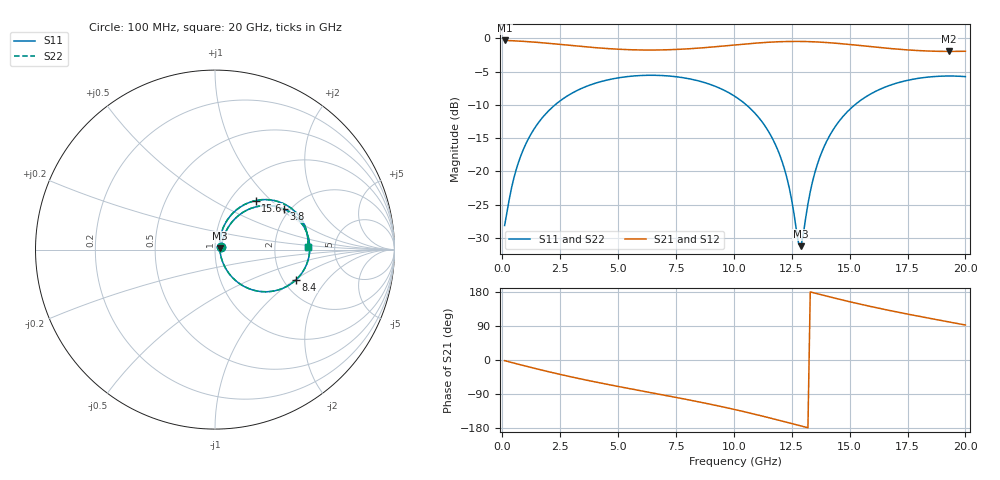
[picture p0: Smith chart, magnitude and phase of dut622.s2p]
! Touchstone file exported from HFSS 2026.1.0
!  File:  C:/ffzhzh/LocalFiles/Ansys_Project_Files/temp_train_TSV_RDL_622_1783124985_53076.aedt
!  Generated:  08:40:42 AM Jul  4, 2026
!  Design:  TSV_RDL
!  Project:  temp_train_TSV_RDL_622_1783124985_53076
! Variables:
!  h_bsmrdl = 2.85um
!  h_ox = 20um
!  h_rdl = 5um
!  h_sub = 89.11um
!  h_tmrdl = 2.04um
!  h_tsv = 89.11um
!  h_via = 3um
!  l_bsmrdl = 526.54um
!  l_sub = 4375.8um
!  l_tmrdl = 570.38um
!  m_sub = 200um
!  pitch = 41.33um
!  r_tsv = 5.67um
!  s_tmrdl = 10um
!  w_bsmrdl = 22.36um
!  w_sub = 500um
!  w_tmrdl = 15.86um
!  x_tsv_center1 = 578.31um
!  x_tsv_center2 = 1127.21um
!  x_tsv_center3 = 1713.45um
!  x_tsv_center4 = 2262.35um
!  x_tsv_center5 = 2848.59um
!  x_tsv_center6 = 3397.49um
# GHz S MA R 50.000000
! Terminal data exported
! Port[1] = TM_RDL1_1_T1
! Port[2] = TM_RDL5_1_T1
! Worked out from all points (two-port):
!   200 points, 100 MHz to 20 GHz, reference 50 ohm
!   highest |S21| = -0.31 dB at 100 MHz (marker M1); lowest = -2.0 dB at 19.3 GHz (marker M2)
!   |S21| within 3 dB of the highest: start of sweep to end of sweep
!   lowest |S11| = -31.2 dB at 12.9 GHz (marker M3), VSWR 1.06, Z = 52.7 + j0.768 ohm
!   |S11| at or under -10 dB: start of sweep to 2.279 GHz; 10.54 GHz to 15.22 GHz (4.686 GHz wide, 36.4 % of centre)
!   |S22| runs from -31.3 to -5.5 dB; largest |S21 - S12| = 1.7e-14
!   S11 on the Smith chart (normalised r, x): 100 MHz: 1.07, +0.03; 3.8 GHz: 1.87, +1.05; 8.4 GHz: 2.34, -1.02; 15.6 GHz: 1.30, +0.81; 20 GHz: 3.12, +0.12
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0.1  0.03917 23.6  0.9644 -1.7  0.9644 -1.7  0.03917 23.6
! Gamma 0 0 0 0
! Port Impedance 50 0 50 0
0.6  0.1031 57.9  0.9564 -9.8  0.9564 -9.8  0.1031 57.9
1.2  0.1854 58.1  0.9423 -19.1  0.9423 -19.1  0.1854 58.1
2.2  0.3077 48.6  0.9111 -33.8  0.9111 -33.8  0.3077 48.6
3.5  0.4261 33.7  0.8668 -51.4  0.8668 -51.4  0.4261 33.7
3.8  0.4466 30.3  0.8576 -55.2  0.8576 -55.2  0.4466 30.3
5.3  0.5134 13.6  0.8243 -73.3  0.8243 -73.3  0.5134 13.6
6.8  0.5265 -2.6  0.8182 -90.5  0.8182 -90.5  0.5264 -2.5
8.4  0.4825 -20.3  0.8428 -109.4  0.8428 -109.4  0.4825 -20.3
10.1  0.3613 -40.6  0.8942 -131.5  0.8942 -131.5  0.3612 -40.6
11.1  0.2507 -52.7  0.9251 -146.0  0.9251 -146.0  0.2506 -52.7
11.9  0.1444 -60.0  0.9425 -158.3  0.9425 -158.3  0.1443 -60.1
12.3  0.08813 -59.1  0.9472 -164.6  0.9472 -164.6  0.08804 -59.2
12.8  0.02848 -14.0  0.9484 -172.5  0.9484 -172.5  0.02823 -14.2
12.9  0.02739 15.4  0.948 -174.1  0.948 -174.1  0.02713 15.6
13.4  0.08406 67.7  0.943 178.0  0.943 178.0  0.08398 67.9
13.8  0.1398 69.2  0.9354 171.8  0.9354 171.8  0.1398 69.3
14.2  0.1939 66.3  0.9253 165.6  0.9253 165.6  0.1939 66.5
15.6  0.3541 50.4  0.878 145.4  0.878 145.4  0.354 50.5
16.7  0.4411 37.4  0.8405 131.0  0.8405 131.0  0.4411 37.5
19.3  0.5212 9.0  0.7974 100.3  0.7974 100.3  0.5211 9.1
20  0.5156 1.5  0.8003 92.3  0.8003 92.3  0.5156 1.7
